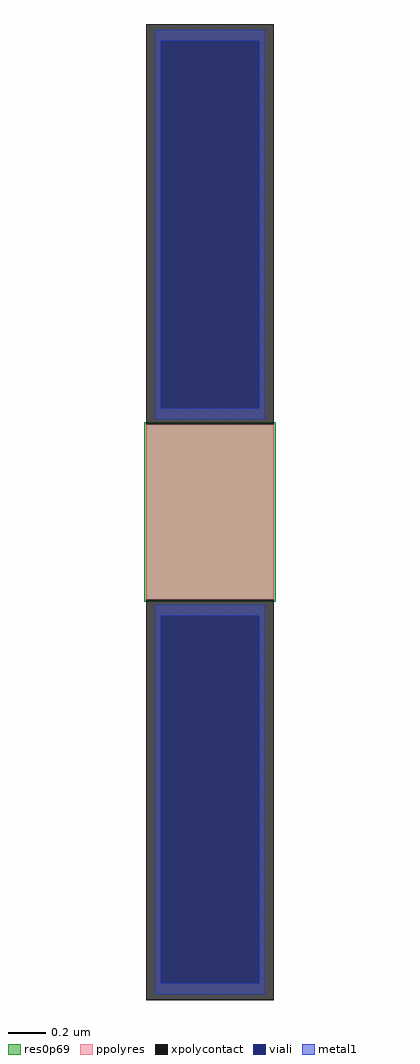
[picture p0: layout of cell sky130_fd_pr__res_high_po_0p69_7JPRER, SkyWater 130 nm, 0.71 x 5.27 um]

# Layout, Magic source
magic
tech sky130A
magscale 1 2
<< xpolycontact >>
rect -69 95 69 527
rect -69 -527 69 -95
<< ppolyres >>
rect -69 -95 69 95
<< viali >>
rect -53 112 53 509
rect -53 -509 53 -112
<< metal1 >>
rect -59 509 59 521
rect -59 112 -53 509
rect 53 112 59 509
rect -59 100 59 112
rect -59 -112 59 -100
rect -59 -509 -53 -112
rect 53 -509 59 -112
rect -59 -521 59 -509
<< res0p69 >>
rect -71 -97 71 97
<< properties >>
string gencell sky130_fd_pr__res_high_po_0p69
string parameters w 0.690 l 0.95 m 1 nx 1 wmin 0.690 lmin 0.50 rho 319.8 val 495.921 dummy 0 dw 0.0 term 19.188 sterm 0.0 caplen 0 guard 0 glc 0 grc 0 gtc 0 gbc 0 compatible {sky130_fd_pr__res_high_po_0p35  sky130_fd_pr__res_high_po_0p69 sky130_fd_pr__res_high_po_1p41  sky130_fd_pr__res_high_po_2p85 sky130_fd_pr__res_high_po_5p73} full_metal 0 wmax 0.690 vias 1 viagb 0 viagt 0 viagl 0 viagr 0
string library sky130
<< end >>
